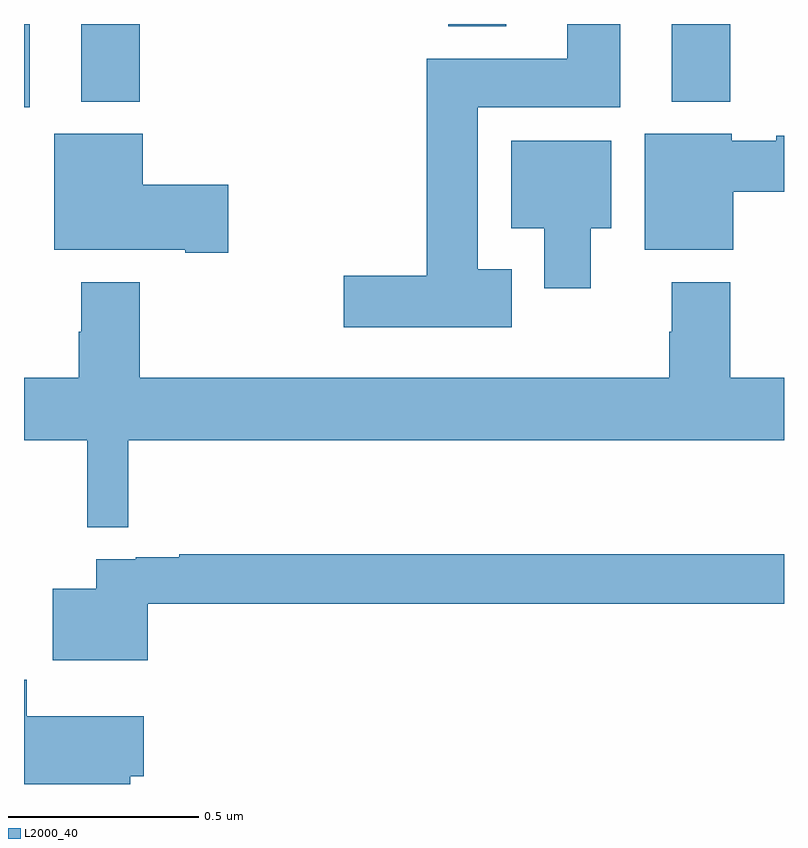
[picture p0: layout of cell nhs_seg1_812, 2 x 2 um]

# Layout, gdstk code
import gdstk
lib = gdstk.Library(unit=1e-6, precision=1e-09)
def R(c, l, rs):  # rectangles x0, y0, x1, y1
    for r in rs: c.add(gdstk.rectangle(r[:2], r[2:], *l))
def P(c, l, *ps):  # polygons
    for p in ps: c.add(gdstk.Polygon(p, *l))
L2000_40 = (2000, 40)

nhs_seg1_812 = lib.new_cell('nhs_seg1_812')
R(nhs_seg1_812, L2000_40, [(121,513.98,121.015,514.199), (121.151,513.995,121.304,514.199), (122.705,513.995,122.858,514.199), (122.117,514.193,122.269,514.199)])
P(nhs_seg1_812, L2000_40, [(122.284,513.553),(122.194,513.553),(122.194,513.98),(122.569,513.98),(122.569,514.199),(122.429,514.199),(122.429,514.108),(122.06,514.108),(122.06,513.536),(121.842,513.536),(121.842,513.401),(122.284,513.401)],
  [(122.866,513.758),(123,513.758),(123,513.905),(122.979,513.905),(122.979,513.892),(122.862,513.892),(122.862,513.91),(122.633,513.91),(122.633,513.605),(122.866,513.605)],
  [(121.537,513.776),(121.312,513.776),(121.312,513.91),(121.079,513.91),(121.079,513.605),(121.424,513.605),(121.424,513.597),(121.537,513.597)],
  [(122.491,513.662),(122.545,513.662),(122.545,513.892),(122.282,513.892),(122.282,513.662),(122.369,513.662),(122.369,513.504),(122.491,513.504)],
  [(121.274,513.104),(123,513.104),(123,513.268),(122.858,513.268),(122.858,513.52),(122.705,513.52),(122.705,513.389),(122.698,513.389),(122.698,513.268),(121.304,513.268),(121.304,513.52),(121.151,513.52),(121.151,513.389),(121.144,513.389),(121.144,513.268),(121,513.268),(121,513.104),(121.166,513.104),(121.166,512.875),(121.274,512.875)],
  [(121.325,512.674),(123,512.674),(123,512.803),(121.408,512.803),(121.408,512.796),(121.294,512.796),(121.294,512.79),(121.19,512.79),(121.19,512.713),(121.076,512.713),(121.076,512.525),(121.325,512.525)],
  [(121.28,512.219),(121.315,512.219),(121.315,512.377),(121.007,512.377),(121.007,512.473),(121,512.473),(121,512.199),(121.28,512.199)])

lib.write_gds('nhs_seg1_812.gds')
